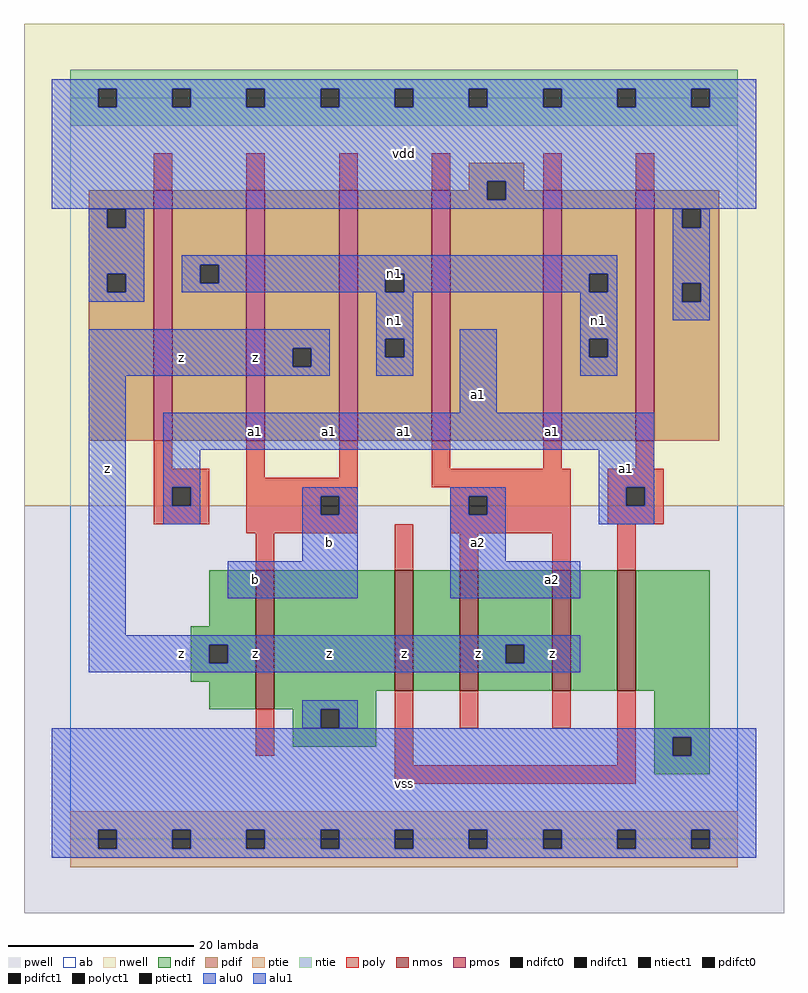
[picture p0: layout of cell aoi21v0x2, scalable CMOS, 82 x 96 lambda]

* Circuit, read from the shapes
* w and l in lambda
.subckt aoi21v0x2 a1 a2 b n1 vdd vss z
M1 vss b z vss nfet w=15 l=2
M2 n2 a1 vss vss nfet w=13 l=2
M3 z a2 n2 vss nfet w=13 l=2
M4 n3 a2 z vss nfet w=13 l=2
M5 vss a1 n3 vss nfet w=13 l=2
M6 n1 a1 vdd vdd pfet w=27 l=2 m=2
M7 z b n1 vdd pfet w=27 l=2 m=2
M8 vdd a2 n1 vdd pfet w=27 l=2 m=2
.ends

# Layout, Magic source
magic
tech scmos
<< ab >>
rect 0 0 72 80
<< nwell >>
rect -5 36 77 88
<< pwell >>
rect -5 -8 77 36
<< poly >>
rect 9 70 11 74
rect 19 70 21 74
rect 29 70 31 74
rect 39 70 41 74
rect 51 70 53 74
rect 61 70 63 74
rect 9 40 11 43
rect 9 38 15 40
rect 9 36 11 38
rect 13 36 15 38
rect 9 34 15 36
rect 19 39 21 43
rect 29 39 31 43
rect 19 37 31 39
rect 39 40 41 43
rect 51 40 53 43
rect 61 40 63 43
rect 39 38 54 40
rect 19 35 27 37
rect 29 35 31 37
rect 19 33 31 35
rect 41 37 54 38
rect 41 35 43 37
rect 45 35 54 37
rect 20 29 22 33
rect 35 29 37 34
rect 41 33 54 35
rect 58 38 64 40
rect 58 36 60 38
rect 62 36 64 38
rect 58 34 64 36
rect 42 29 44 33
rect 52 29 54 33
rect 59 29 61 34
rect 20 9 22 14
rect 35 8 37 16
rect 42 12 44 16
rect 52 12 54 16
rect 59 8 61 16
rect 35 6 61 8
<< ndif >>
rect 15 23 20 29
rect 13 21 20 23
rect 13 19 15 21
rect 17 19 20 21
rect 13 17 20 19
rect 15 14 20 17
rect 22 16 35 29
rect 37 16 42 29
rect 44 21 52 29
rect 44 19 47 21
rect 49 19 52 21
rect 44 16 52 19
rect 54 16 59 29
rect 61 16 69 29
rect 22 14 33 16
rect 24 12 27 14
rect 29 12 33 14
rect 24 10 33 12
rect 63 11 69 16
rect 63 9 65 11
rect 67 9 69 11
rect 63 7 69 9
<< pdif >>
rect 43 71 49 73
rect 43 70 45 71
rect 2 68 9 70
rect 2 66 4 68
rect 6 66 9 68
rect 2 61 9 66
rect 2 59 4 61
rect 6 59 9 61
rect 2 43 9 59
rect 11 62 19 70
rect 11 60 14 62
rect 16 60 19 62
rect 11 43 19 60
rect 21 53 29 70
rect 21 51 24 53
rect 26 51 29 53
rect 21 43 29 51
rect 31 61 39 70
rect 31 59 34 61
rect 36 59 39 61
rect 31 54 39 59
rect 31 52 34 54
rect 36 52 39 54
rect 31 43 39 52
rect 41 69 45 70
rect 47 70 49 71
rect 47 69 51 70
rect 41 43 51 69
rect 53 61 61 70
rect 53 59 56 61
rect 58 59 61 61
rect 53 54 61 59
rect 53 52 56 54
rect 58 52 61 54
rect 53 43 61 52
rect 63 68 70 70
rect 63 66 66 68
rect 68 66 70 68
rect 63 60 70 66
rect 63 58 66 60
rect 68 58 70 60
rect 63 43 70 58
<< alu1 >>
rect -2 81 74 82
rect -2 79 3 81
rect 5 79 11 81
rect 13 79 19 81
rect 21 79 27 81
rect 29 79 35 81
rect 37 79 43 81
rect 45 79 51 81
rect 53 79 59 81
rect 61 79 67 81
rect 69 79 74 81
rect -2 71 74 79
rect -2 69 45 71
rect 47 69 74 71
rect -2 68 74 69
rect 2 53 28 55
rect 2 51 24 53
rect 26 51 28 53
rect 2 50 28 51
rect 2 22 6 50
rect 42 46 46 55
rect 10 42 63 46
rect 10 38 14 42
rect 57 38 63 42
rect 10 36 11 38
rect 13 36 14 38
rect 10 34 14 36
rect 25 37 31 38
rect 25 35 27 37
rect 29 35 31 37
rect 25 30 31 35
rect 17 26 31 30
rect 41 37 47 38
rect 41 35 43 37
rect 45 35 47 37
rect 41 30 47 35
rect 57 36 60 38
rect 62 36 63 38
rect 57 34 63 36
rect 41 26 55 30
rect 2 21 55 22
rect 2 19 15 21
rect 17 19 47 21
rect 49 19 55 21
rect 2 18 55 19
rect -2 11 74 12
rect -2 9 65 11
rect 67 9 74 11
rect -2 1 74 9
rect -2 -1 3 1
rect 5 -1 11 1
rect 13 -1 19 1
rect 21 -1 27 1
rect 29 -1 35 1
rect 37 -1 43 1
rect 45 -1 51 1
rect 53 -1 59 1
rect 61 -1 67 1
rect 69 -1 74 1
rect -2 -2 74 -1
<< ptie >>
rect 0 1 72 3
rect 0 -1 3 1
rect 5 -1 11 1
rect 13 -1 19 1
rect 21 -1 27 1
rect 29 -1 35 1
rect 37 -1 43 1
rect 45 -1 51 1
rect 53 -1 59 1
rect 61 -1 67 1
rect 69 -1 72 1
rect 0 -3 72 -1
<< ntie >>
rect 0 81 72 83
rect 0 79 3 81
rect 5 79 11 81
rect 13 79 19 81
rect 21 79 27 81
rect 29 79 35 81
rect 37 79 43 81
rect 45 79 51 81
rect 53 79 59 81
rect 61 79 67 81
rect 69 79 72 81
rect 0 77 72 79
<< nmos >>
rect 20 14 22 29
rect 35 16 37 29
rect 42 16 44 29
rect 52 16 54 29
rect 59 16 61 29
<< pmos >>
rect 9 43 11 70
rect 19 43 21 70
rect 29 43 31 70
rect 39 43 41 70
rect 51 43 53 70
rect 61 43 63 70
<< polyct1 >>
rect 11 36 13 38
rect 27 35 29 37
rect 43 35 45 37
rect 60 36 62 38
<< ndifct0 >>
rect 27 12 29 14
<< ndifct1 >>
rect 15 19 17 21
rect 47 19 49 21
rect 65 9 67 11
<< ntiect1 >>
rect 3 79 5 81
rect 11 79 13 81
rect 19 79 21 81
rect 27 79 29 81
rect 35 79 37 81
rect 43 79 45 81
rect 51 79 53 81
rect 59 79 61 81
rect 67 79 69 81
<< ptiect1 >>
rect 3 -1 5 1
rect 11 -1 13 1
rect 19 -1 21 1
rect 27 -1 29 1
rect 35 -1 37 1
rect 43 -1 45 1
rect 51 -1 53 1
rect 59 -1 61 1
rect 67 -1 69 1
<< pdifct0 >>
rect 4 66 6 68
rect 4 59 6 61
rect 14 60 16 62
rect 34 59 36 61
rect 34 52 36 54
rect 56 59 58 61
rect 56 52 58 54
rect 66 66 68 68
rect 66 58 68 60
<< pdifct1 >>
rect 24 51 26 53
rect 45 69 47 71
<< alu0 >>
rect 2 66 4 68
rect 6 66 8 68
rect 2 61 8 66
rect 65 66 66 68
rect 68 66 69 68
rect 2 59 4 61
rect 6 59 8 61
rect 12 62 59 63
rect 12 60 14 62
rect 16 61 59 62
rect 16 60 34 61
rect 12 59 34 60
rect 36 59 56 61
rect 58 59 59 61
rect 2 58 8 59
rect 33 54 37 59
rect 33 52 34 54
rect 36 52 37 54
rect 33 50 37 52
rect 55 54 59 59
rect 65 60 69 66
rect 65 58 66 60
rect 68 58 69 60
rect 65 56 69 58
rect 55 52 56 54
rect 58 52 59 54
rect 55 50 59 52
rect 25 14 31 15
rect 25 12 27 14
rect 29 12 31 14
<< labels >>
rlabel alu0 35 56 35 56 6 n1
rlabel alu0 57 56 57 56 6 n1
rlabel alu0 35 61 35 61 6 n1
rlabel alu1 12 20 12 20 6 z
rlabel alu1 4 40 4 40 6 z
rlabel alu1 12 52 12 52 6 z
rlabel alu1 28 20 28 20 6 z
rlabel alu1 20 20 20 20 6 z
rlabel alu1 20 28 20 28 6 b
rlabel alu1 28 32 28 32 6 b
rlabel alu1 28 44 28 44 6 a1
rlabel alu1 20 44 20 44 6 a1
rlabel alu1 20 52 20 52 6 z
rlabel alu1 36 6 36 6 6 vss
rlabel alu1 44 20 44 20 6 z
rlabel alu1 52 20 52 20 6 z
rlabel alu1 36 20 36 20 6 z
rlabel alu1 44 32 44 32 6 a2
rlabel alu1 52 28 52 28 6 a2
rlabel alu1 52 44 52 44 6 a1
rlabel alu1 36 44 36 44 6 a1
rlabel alu1 44 48 44 48 6 a1
rlabel alu1 36 74 36 74 6 vdd
rlabel alu1 60 40 60 40 6 a1
<< end >>
